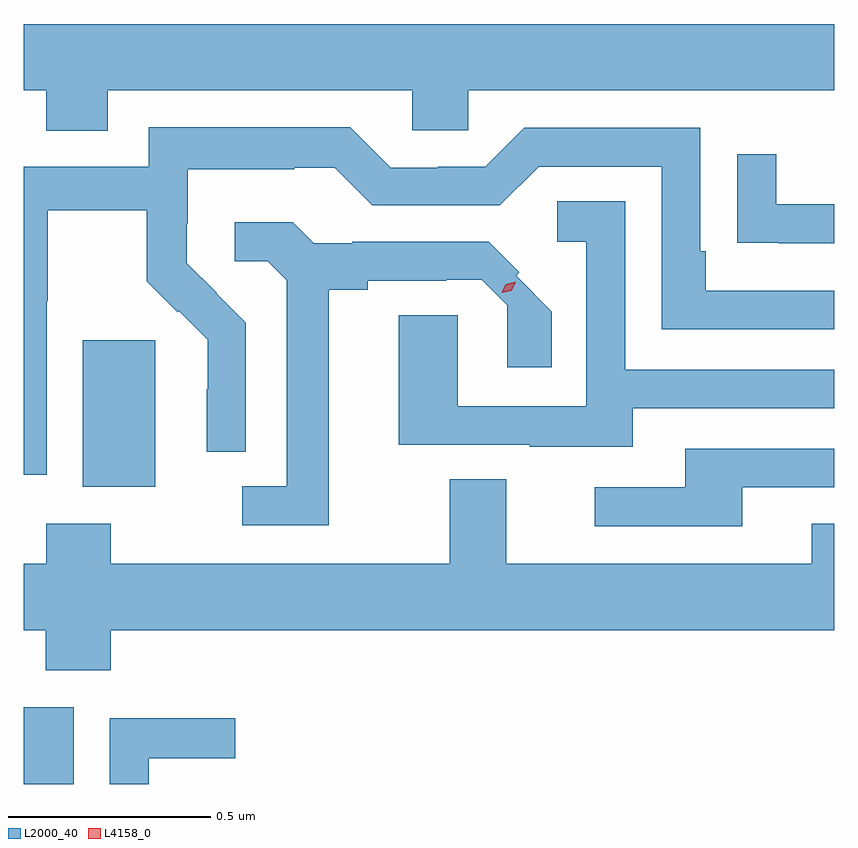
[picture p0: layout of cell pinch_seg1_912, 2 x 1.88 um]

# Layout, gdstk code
import gdstk
lib = gdstk.Library(unit=1e-6, precision=1e-09)
def R(c, l, rs):  # rectangles x0, y0, x1, y1
    for r in rs: c.add(gdstk.rectangle(r[:2], r[2:], *l))
def P(c, l, *ps):  # polygons
    for p in ps: c.add(gdstk.Polygon(p, *l))
L2000_40 = (2000, 40)
L4158_0 = (4158, 0)

pinch_seg1_912 = lib.new_cell('pinch_seg1_912')
R(pinch_seg1_912, L2000_40, [(617.836,504.732,617.959,504.922), (617.981,505.466,618.16,505.827)])
P(pinch_seg1_912, L2000_40, [(618.043,506.444),(618.795,506.444),(618.795,506.346),(618.933,506.346),(618.933,506.444),(619.836,506.444),(619.836,506.608),(617.836,506.608),(617.836,506.444),(617.891,506.444),(617.891,506.345),(618.043,506.345)],
  [(617.892,505.924),(617.895,505.924),(617.895,506.148),(618.139,506.148),(618.139,505.973),(618.216,505.896),(618.219,505.899),(618.29,505.829),(618.29,505.706),(618.288,505.706),(618.288,505.552),(618.384,505.552),(618.384,505.87),(618.311,505.943),(618.312,505.944),(618.238,506.018),(618.238,506.115),(618.24,506.115),(618.24,506.249),(618.503,506.249),(618.503,506.253),(618.603,506.253),(618.696,506.16),(619.011,506.16),(619.107,506.256),(619.41,506.256),(619.41,505.854),(619.836,505.854),(619.836,505.95),(619.519,505.95),(619.519,506.047),(619.506,506.047),(619.506,506.352),(619.071,506.352),(618.975,506.256),(618.857,506.256),(618.857,506.253),(618.741,506.253),(618.641,506.353),(618.144,506.353),(618.144,506.256),(617.836,506.256),(617.836,505.495),(617.892,505.495)],
  [(619.836,506.163),(619.693,506.163),(619.693,506.287),(619.597,506.287),(619.597,506.068),(619.699,506.068),(619.699,506.067),(619.836,506.067)],
  [(619.339,505.659),(619.836,505.659),(619.836,505.755),(619.32,505.755),(619.32,506.171),(619.152,506.171),(619.152,506.07),(619.224,506.07),(619.224,505.665),(618.907,505.665),(618.907,505.889),(618.761,505.889),(618.761,505.569),(619.085,505.569),(619.085,505.565),(619.339,505.565)],
  [(618.589,505.952),(618.685,505.952),(618.685,505.974),(618.878,505.974),(618.878,505.977),(618.966,505.977),(619.029,505.914),(619.029,505.761),(619.139,505.761),(619.139,505.898),(619.051,505.987),(619.059,505.995),(618.984,506.07),(618.646,506.07),(618.646,506.067),(618.552,506.067),(618.5,506.119),(618.357,506.119),(618.357,506.022),(618.438,506.022),(618.485,505.975),(618.485,505.467),(618.375,505.467),(618.375,505.371),(618.589,505.371)],
  [(619.609,505.464),(619.836,505.464),(619.836,505.56),(619.469,505.56),(619.469,505.464),(619.245,505.464),(619.245,505.368),(619.609,505.368)],
  [(618.05,505.112),(619.836,505.112),(619.836,505.375),(619.781,505.375),(619.781,505.276),(619.027,505.276),(619.027,505.484),(618.887,505.484),(618.887,505.276),(618.051,505.276),(618.051,505.375),(617.891,505.375),(617.891,505.276),(617.836,505.276),(617.836,505.112),(617.89,505.112),(617.89,505.013),(618.05,505.013)],
  [(618.144,504.795),(618.358,504.795),(618.358,504.894),(618.048,504.894),(618.048,504.732),(618.144,504.732)])
P(pinch_seg1_912, L4158_0, [(619.016,505.944),(619.016,505.944),(619.026,505.966),(619.05,505.972),(619.05,505.972),(619.05,505.971),(619.039,505.95),(619.016,505.944)])

lib.write_gds('pinch_seg1_912.gds')
